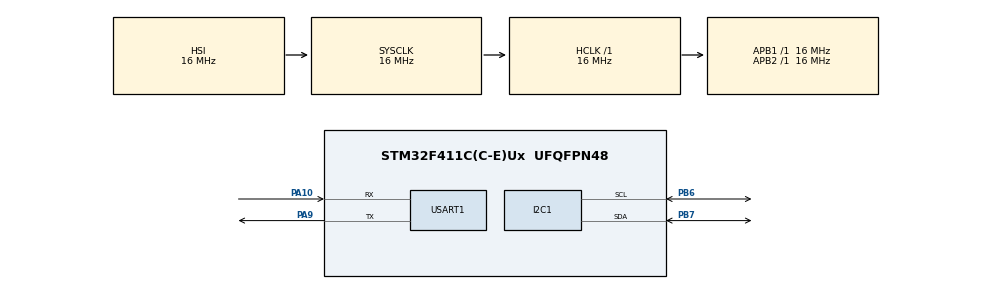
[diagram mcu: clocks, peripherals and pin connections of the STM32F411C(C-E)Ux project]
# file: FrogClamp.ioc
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Mcu.Family=STM32F4
Mcu.Name=STM32F411C(C-E)Ux
Mcu.Package=UFQFPN48
NVIC.PriorityGroup=NVIC_PRIORITYGROUP_4
PA10.Mode=Asynchronous
PA10.Signal=USART1_RX
PA9.Mode=Asynchronous
PA9.Signal=USART1_TX
PB6.Mode=I2C
PB6.Signal=I2C1_SCL
PB7.Mode=I2C
PB7.Signal=I2C1_SDA
ProjectManager.HeapSize=0x200
ProjectManager.StackSize=0x400
ProjectManager.TargetToolchain=STM32CubeIDE
RCC.AHBFreq_Value=16000000
RCC.APB1Freq_Value=16000000
RCC.APB2Freq_Value=16000000
RCC.CortexFreq_Value=16000000
RCC.HSE_VALUE=25000000
RCC.HSI_VALUE=16000000
RCC.LSE_VALUE=32768
RCC.SYSCLKFreq_VALUE=16000000
RCC.VCOOutputFreq_Value=192000000
USART1.VirtualMode=VM_ASYNC
board=custom

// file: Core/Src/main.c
/* USER CODE BEGIN Header */
/**
  ******************************************************************************
  * @file           : main.c
  * @brief          : Main program body
  ******************************************************************************
  * @attention
  *
  * Copyright (c) 2025 STMicroelectronics.
  * All rights reserved.
  *
  * This software is licensed under terms that can be found in the LICENSE file
  * in the root directory of this software component.
  * If no LICENSE file comes with this software, it is provided AS-IS.
  *
  ******************************************************************************
  */
/* USER CODE END Header */
#include "main.h"

/* USER CODE BEGIN Includes */

#include "bmp280.h"
#include <stdio.h>
#include <string.h>
/* USER CODE END Includes */

I2C_HandleTypeDef hi2c1;

UART_HandleTypeDef huart1;

/* USER CODE BEGIN PV */
BMP280_HandleTypedef bmp280;
float pressure, temperature, humidity; // Humidity unused for BMP280
uint16_t size;
uint8_t Data[256];

/* USER CODE END PV */

void SystemClock_Config(void);
static void MX_GPIO_Init(void);
static void MX_I2C1_Init(void);
static void MX_USART1_UART_Init(void);

int main(void)
{

  /* MCU Configuration--------------------------------------------------------*/

  /* Reset of all peripherals, Initializes the Flash interface and the Systick. */
  HAL_Init();

  /* Configure the system clock */
  SystemClock_Config();

  /* Initialize all configured peripherals */
  MX_GPIO_Init();
  MX_I2C1_Init();
  MX_USART1_UART_Init();
  /* USER CODE BEGIN 2 */

  // Initialize BMP280 with default parameters
  bmp280_init_default_params(&bmp280.params);
  bmp280.addr = BMP280_I2C_ADDRESS_0; // 0x76 (SDO low), use BMP280_I2C_ADDRESS_1 (0x77) if SDO high
  bmp280.i2c = &hi2c1;

  // Attempt to initialize BMP280
  while (!bmp280_init(&bmp280, &bmp280.params)) {
    size = sprintf((char *)Data, "BMP280 initialization failed\r\n");
    HAL_UART_Transmit(&huart1, Data, size, 1000);
    HAL_Delay(2000);
  }

  // Check if BMP280 or BME280 (library supports both)
  bool bme280p = bmp280.id == BME280_CHIP_ID;
  size = sprintf((char *)Data, "Found %s\r\n", bme280p ? "BME280" : "BMP280");
  HAL_UART_Transmit(&huart1, Data, size, 1000);

  /* USER CODE END 2 */

  /* Infinite loop */
  while (1)
  {

    /* USER CODE BEGIN 3 */
	    // Read temperature and pressure
	    if (!bmp280_read_float(&bmp280, &temperature, &pressure, &humidity)) {
	      size = sprintf((char *)Data, "Temperature/pressure reading failed\r\n");
	      HAL_UART_Transmit(&huart1, Data, size, 1000);
	    } else {
	      // Print temperature and pressure (humidity is 0 for BMP280)
	      size = sprintf((char *)Data, "Temperature: %.2f C, Pressure: %.2f hPa\r\n",
	                     temperature, pressure / 100.0f); // Convert Pa to hPa
	      HAL_UART_Transmit(&huart1, Data, size, 1000);
	    }

	    HAL_Delay(2000); // Read every 2 seconds
  }
  /* USER CODE END 3 */
}

void SystemClock_Config(void)
{
  RCC_OscInitTypeDef RCC_OscInitStruct = {0};
  RCC_ClkInitTypeDef RCC_ClkInitStruct = {0};

  /** Configure the main internal regulator output voltage
  */
  __HAL_RCC_PWR_CLK_ENABLE();
  __HAL_PWR_VOLTAGESCALING_CONFIG(PWR_REGULATOR_VOLTAGE_SCALE1);

  /** Initializes the RCC Oscillators according to the specified parameters
  * in the RCC_OscInitTypeDef structure.
  */
  RCC_OscInitStruct.OscillatorType = RCC_OSCILLATORTYPE_HSI;
  RCC_OscInitStruct.HSIState = RCC_HSI_ON;
  RCC_OscInitStruct.HSICalibrationValue = RCC_HSICALIBRATION_DEFAULT;
  RCC_OscInitStruct.PLL.PLLState = RCC_PLL_NONE;
  if (HAL_RCC_OscConfig(&RCC_OscInitStruct) != HAL_OK)
  {
    Error_Handler();
  }

  /** Initializes the CPU, AHB and APB buses clocks
  */
  RCC_ClkInitStruct.ClockType = RCC_CLOCKTYPE_HCLK|RCC_CLOCKTYPE_SYSCLK
                              |RCC_CLOCKTYPE_PCLK1|RCC_CLOCKTYPE_PCLK2;
  RCC_ClkInitStruct.SYSCLKSource = RCC_SYSCLKSOURCE_HSI;
  RCC_ClkInitStruct.AHBCLKDivider = RCC_SYSCLK_DIV1;
  RCC_ClkInitStruct.APB1CLKDivider = RCC_HCLK_DIV1;
  RCC_ClkInitStruct.APB2CLKDivider = RCC_HCLK_DIV1;

  if (HAL_RCC_ClockConfig(&RCC_ClkInitStruct, FLASH_LATENCY_0) != HAL_OK)
  {
    Error_Handler();
  }
}

static void MX_I2C1_Init(void)
{

  hi2c1.Instance = I2C1;
  hi2c1.Init.ClockSpeed = 100000;
  hi2c1.Init.DutyCycle = I2C_DUTYCYCLE_2;
  hi2c1.Init.OwnAddress1 = 0;
  hi2c1.Init.AddressingMode = I2C_ADDRESSINGMODE_7BIT;
  hi2c1.Init.DualAddressMode = I2C_DUALADDRESS_DISABLE;
  hi2c1.Init.OwnAddress2 = 0;
  hi2c1.Init.GeneralCallMode = I2C_GENERALCALL_DISABLE;
  hi2c1.Init.NoStretchMode = I2C_NOSTRETCH_DISABLE;
  if (HAL_I2C_Init(&hi2c1) != HAL_OK)
  {
    Error_Handler();
  }

}

static void MX_USART1_UART_Init(void)
{

  huart1.Instance = USART1;
  huart1.Init.BaudRate = 115200;
  huart1.Init.WordLength = UART_WORDLENGTH_8B;
  huart1.Init.StopBits = UART_STOPBITS_1;
  huart1.Init.Parity = UART_PARITY_NONE;
  huart1.Init.Mode = UART_MODE_TX_RX;
  huart1.Init.HwFlowCtl = UART_HWCONTROL_NONE;
  huart1.Init.OverSampling = UART_OVERSAMPLING_16;
  if (HAL_UART_Init(&huart1) != HAL_OK)
  {
    Error_Handler();
  }

}

static void MX_GPIO_Init(void)
{

  /* GPIO Ports Clock Enable */
  __HAL_RCC_GPIOA_CLK_ENABLE();
  __HAL_RCC_GPIOB_CLK_ENABLE();

}

void Error_Handler(void)
{
  __disable_irq();
  while (1)
  {
  }
}
